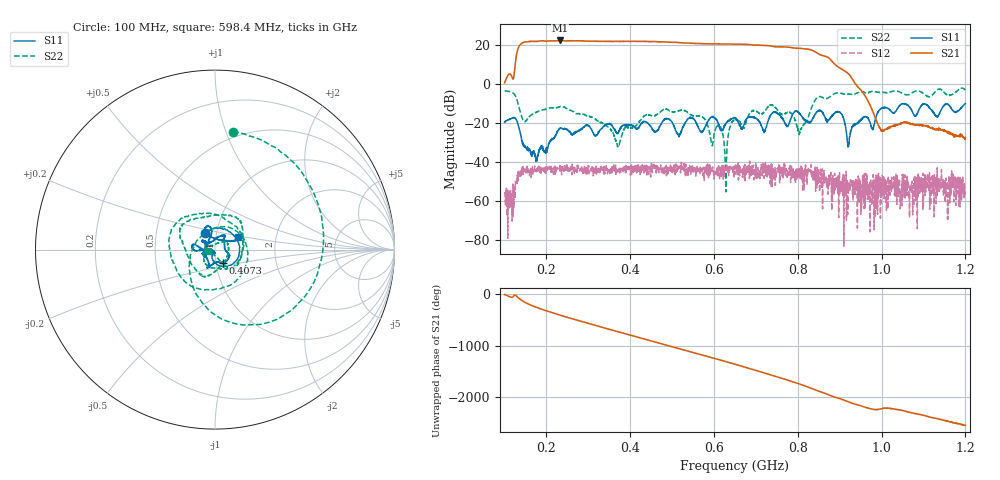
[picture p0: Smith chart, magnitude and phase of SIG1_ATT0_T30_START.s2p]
# Hz S DB R 50
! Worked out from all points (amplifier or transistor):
!   1601 points, 100 MHz to 1.2 GHz, reference 50 ohm
!   highest |S21| = 22.3 dB at 232 MHz (marker M1)
!   |S21| within 3 dB of that: 134.3 MHz to 739.2 MHz (604.9 MHz wide, 138 % of centre)
!   unconditionally stable (mu >= 1): start of sweep to end of sweep
!   at 282.9 MHz: K = 6.13, MAG = 22.3 dB, |S12| = -44.1 dB
!   at 650 MHz: K = 8.90, MAG = 20.5 dB, |S12| = -45.6 dB
!   at 1.2 GHz: K = 3046.93, MAG = -24.1 dB, |S12| = -54.9 dB
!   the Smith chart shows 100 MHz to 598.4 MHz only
!   S11 on the Smith chart (normalised r, x): 100 MHz: 0.88, +0.16; 407.3 MHz: 1.08, -0.16; 598.4 MHz: 1.29, +0.18
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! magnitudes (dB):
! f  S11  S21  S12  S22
! 100 MHz  -19.6  0.6  -56.3  -3.6
! 117.2 MHz  -17.6  3.9  -59.2  -4.4
! 137.8 MHz  -25.6  20.2  -44.4  -14.6
! 175.6 MHz  -38.3  21.8  -43.6  -14.6
! 232 MHz  -22.9  22.3  -44.6  -11.6
! 283.6 MHz  -23.1  22.0  -42.6  -15.3
! 370.2 MHz  -25.5  21.8  -44.5  -32.1
! 407.3 MHz  -21.5  21.8  -42.3  -22.1
! 467.1 MHz  -23.6  21.6  -43.2  -15.0
! 570.2 MHz  -24.9  20.7  -43.5  -16.6
! 598.4 MHz  -16.6  20.5  -44.8  -28.3
! 612.9 MHz  -22.0  20.5  -48.5  -21.5
! 628.7 MHz  -19.9  20.5  -42.9  -46.4
! 650 MHz  -17.5  20.4  -45.6  -18.5
! 719.4 MHz  -24.9  19.8  -48.4  -14.5
! 737.3 MHz  -15.2  19.4  -45.0  -10.7
! 804.7 MHz  -15.1  18.3  -47.4  -25.0
! 833.6 MHz  -18.6  17.3  -46.4  -11.8
! 898.9 MHz  -14.5  8.3  -47.3  -4.6
! 921.6 MHz  -30.2  5.0  -53.8  -5.3
! 1.017 GHz  -12.8  -22.1  -52.0  -4.3
! 1.2 GHz  -10.0  -27.4  -54.9  -3.2
